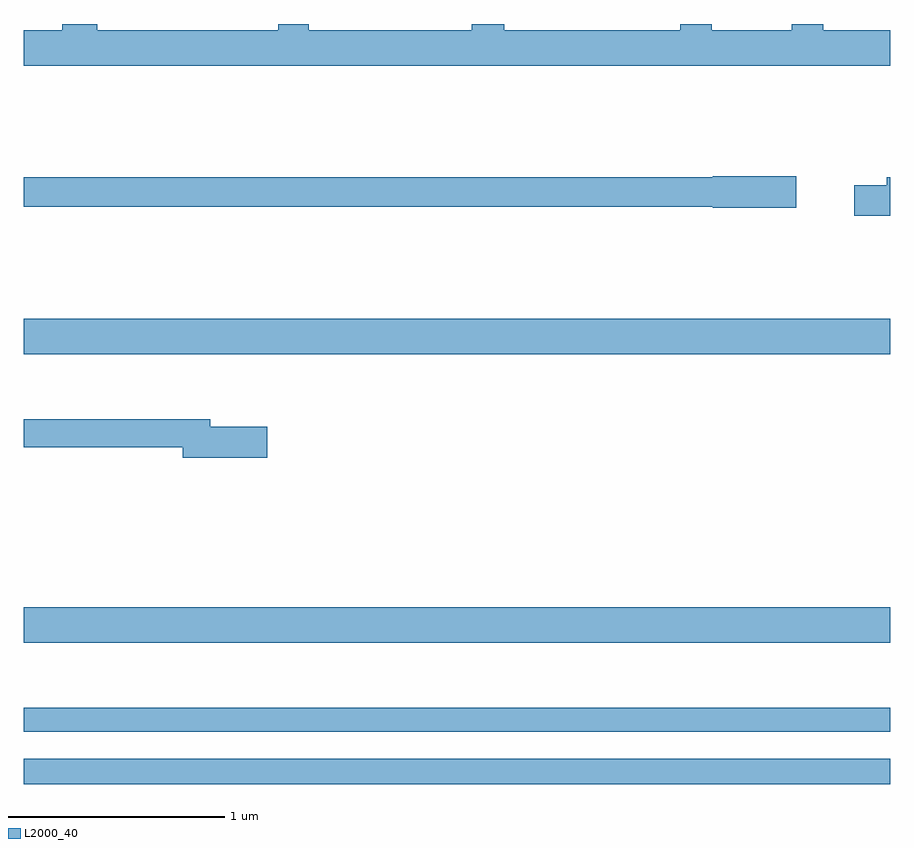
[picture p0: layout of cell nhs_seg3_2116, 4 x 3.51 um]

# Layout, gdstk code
import gdstk
lib = gdstk.Library(unit=1e-6, precision=1e-09)
def R(c, l, rs):  # rectangles x0, y0, x1, y1
    for r in rs: c.add(gdstk.rectangle(r[:2], r[2:], *l))
def P(c, l, *ps):  # polygons
    for p in ps: c.add(gdstk.Polygon(p, *l))
L2000_40 = (2000, 40)

nhs_seg3_2116 = lib.new_cell('nhs_seg3_2116')
R(nhs_seg3_2116, L2000_40, [(219,738.892,223,739.008), (219,739.134,223,739.243), (219,739.544,223,739.708), (219,740.876,223,741.04)])
P(nhs_seg3_2116, L2000_40, [(223,742.372),(222.691,742.372),(222.691,742.4),(222.544,742.4),(222.544,742.372),(222.177,742.372),(222.177,742.4),(222.03,742.4),(222.03,742.372),(221.217,742.372),(221.217,742.4),(221.069,742.4),(221.069,742.372),(220.315,742.372),(220.315,742.4),(220.175,742.4),(220.175,742.372),(219.339,742.372),(219.339,742.4),(219.179,742.4),(219.179,742.372),(219,742.372),(219,742.208),(223,742.208)],
  [(222.565,741.698),(222.18,741.698),(222.18,741.692),(219,741.692),(219,741.556),(222.18,741.556),(222.18,741.551),(222.565,741.551)],
  [(223,741.692),(222.983,741.692),(222.983,741.656),(222.834,741.656),(222.834,741.514),(223,741.514)],
  [(220.123,740.541),(219.862,740.541),(219.862,740.575),(219,740.575),(219,740.446),(219.734,740.446),(219.734,740.399),(220.123,740.399)])

lib.write_gds('nhs_seg3_2116.gds')
